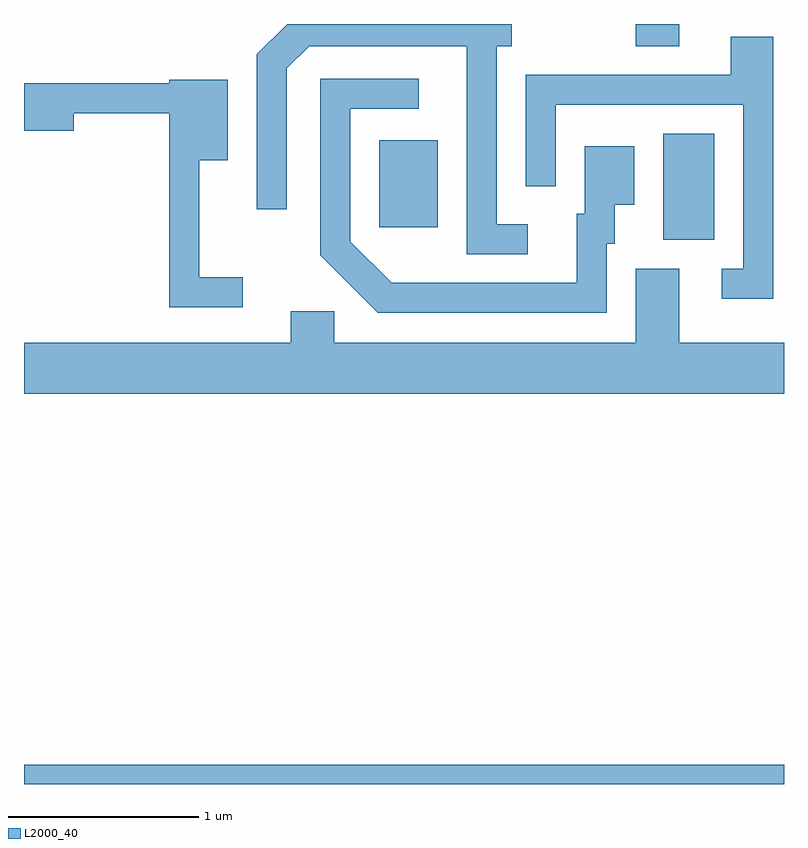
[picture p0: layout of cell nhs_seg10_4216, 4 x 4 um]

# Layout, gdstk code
import gdstk
lib = gdstk.Library(unit=1e-6, precision=1e-09)
def R(c, l, rs):  # rectangles x0, y0, x1, y1
    for r in rs: c.add(gdstk.rectangle(r[:2], r[2:], *l))
def P(c, l, *ps):  # polygons
    for p in ps: c.add(gdstk.Polygon(p, *l))
L2000_40 = (2000, 40)

nhs_seg10_4216 = lib.new_cell('nhs_seg10_4216')
R(nhs_seg10_4216, L2000_40, [(309.611,2118.522,313.611,2118.624), (312.976,2121.386,313.244,2121.944), (311.481,2121.451,311.789,2121.909), (312.831,2122.406,313.059,2122.522)])
P(nhs_seg10_4216, L2000_40, [(312.263,2121.469),(312.099,2121.469),(312.099,2122.406),(312.178,2122.406),(312.178,2122.522),(310.997,2122.522),(310.836,2122.362),(310.836,2121.548),(310.994,2121.548),(310.994,2122.289),(311.112,2122.406),(311.941,2122.406),(311.941,2121.311),(312.263,2121.311)],
  [(313.554,2122.454),(313.331,2122.454),(313.331,2122.254),(312.251,2122.254),(312.251,2121.668),(312.409,2121.668),(312.409,2122.096),(313.396,2122.096),(313.396,2121.234),(313.283,2121.234),(313.283,2121.076),(313.554,2121.076)],
  [(312.679,2121.366),(312.719,2121.366),(312.719,2121.571),(312.824,2121.571),(312.824,2121.879),(312.561,2121.879),(312.561,2121.524),(312.521,2121.524),(312.521,2121.159),(311.547,2121.159),(311.329,2121.377),(311.329,2122.076),(311.688,2122.076),(311.688,2122.234),(311.171,2122.234),(311.171,2121.304),(311.474,2121.001),(312.679,2121.001)],
  [(310.763,2121.189),(310.534,2121.189),(310.534,2121.806),(310.684,2121.806),(310.684,2122.229),(310.376,2122.229),(310.376,2122.209),(309.611,2122.209),(309.611,2121.961),(309.874,2121.961),(309.874,2122.051),(310.376,2122.051),(310.376,2121.031),(310.763,2121.031)],
  [(313.611,2120.844),(313.059,2120.844),(313.059,2121.234),(312.831,2121.234),(312.831,2120.844),(311.244,2120.844),(311.244,2121.009),(311.016,2121.009),(311.016,2120.844),(309.611,2120.844),(309.611,2120.576),(313.611,2120.576)])

lib.write_gds('nhs_seg10_4216.gds')
